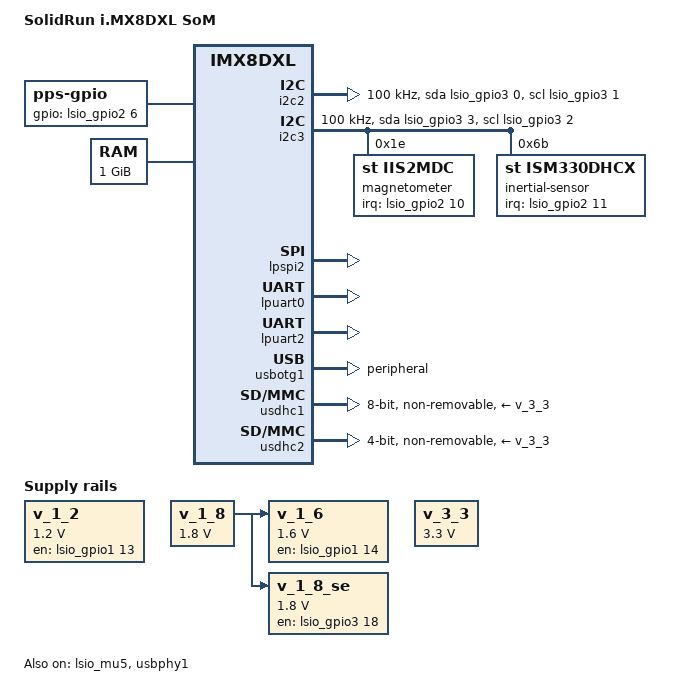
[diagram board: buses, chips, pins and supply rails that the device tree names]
// SPDX-License-Identifier: (GPL-2.0+ OR MIT)
/*
 * Copyright 2022-2026 Josua Mayer <josua@solid-run.com>
 */

#include "imx8dxl.dtsi"
/ {
	compatible = "solidrun,imx8dxl-sr-som", "fsl,imx8dxl";
	model = "SolidRun i.MX8DXL SoM";

	aliases {
		i2c2 = &i2c2;
		i2c3 = &i2c3;
		mmc0 = &usdhc1;
		mmc1 = &usdhc2;
		serial0 = &lpuart0;
		serial2 = &lpuart2;
	};

	chosen {
		stdout-path = "serial0:115200n8";
	};

	imx8dxl-cm4 {
		compatible = "fsl,imx8qxp-cm4";
		clocks = <&clk_dummy>;
		mboxes = <&lsio_mu5 0 1 &lsio_mu5 1 1 &lsio_mu5 3 1>;
		mbox-names = "tx", "rx", "rxdb";
		memory-region = <&vdevbuffer>, <&vdev0vring0>, <&vdev0vring1>,
				<&vdev1vring0>, <&vdev1vring1>, <&rsc_table>;
		power-domains = <&pd IMX_SC_R_M4_0_PID0>, <&pd IMX_SC_R_M4_0_MU_1A>;
		fsl,entry-address = <0x34fe0000>;
		fsl,resource-id = <IMX_SC_R_M4_0_PID0>;
	};

	pps {
		compatible = "pps-gpio";
		gpios = <&lsio_gpio2 6 GPIO_ACTIVE_HIGH>;
		pinctrl-0 = <&gnss_pps_pins>;
		pinctrl-names = "default";
	};

	v_1_2: regulator-1-2 {
		compatible = "regulator-fixed";
		regulator-name = "1v2";
		pinctrl-0 = <&regulator_1_2_pins>;
		pinctrl-names = "default";
		regulator-max-microvolt = <1200000>;
		regulator-min-microvolt = <1200000>;
		gpio = <&lsio_gpio1 13 GPIO_ACTIVE_HIGH>;
		enable-active-high;
	};

	v_1_6: regulator-1-6 {
		compatible = "regulator-fixed";
		regulator-name = "1v6";
		pinctrl-0 = <&regulator_1_6_pins>;
		pinctrl-names = "default";
		regulator-max-microvolt = <1600000>;
		regulator-min-microvolt = <1600000>;
		vin-supply = <&v_1_8>;
		gpio = <&lsio_gpio1 14 GPIO_ACTIVE_HIGH>;
		enable-active-high;
	};

	v_1_8: regulator-1-8 {
		compatible = "regulator-fixed";
		regulator-name = "1v8";
		regulator-max-microvolt = <1800000>;
		regulator-min-microvolt = <1800000>;
	};

	v_1_8_se: regulator-1-8-secure-element {
		compatible = "regulator-fixed";
		regulator-name = "1v8-se";
		pinctrl-0 = <&regulator_1_8_se_pins>;
		pinctrl-names = "default";
		regulator-max-microvolt = <1800000>;
		regulator-min-microvolt = <1800000>;
		vin-supply = <&v_1_8>;
		gpio = <&lsio_gpio3 18 GPIO_ACTIVE_HIGH>;
		enable-active-high;
	};

	v_3_3: regulator-3-3 {
		compatible = "regulator-fixed";
		regulator-name = "3v3";
		regulator-max-microvolt = <3300000>;
		regulator-min-microvolt = <3300000>;
	};

	reserved-memory {
		ranges;
		#address-cells = <2>;
		#size-cells = <2>;

		/* global autoconfigured region for contiguous allocations */
		linux,cma {
			compatible = "shared-dma-pool";
			alloc-ranges = <0 0x98000000 0 0x14000000>;
			reusable;
			size = <0 0x14000000>;
			linux,cma-default;
		};

		vdev0vring0: memory0@90000000 {
			reg = <0 0x90000000 0 0x8000>;
			no-map;
		};

		vdev0vring1: memory@90008000 {
			reg = <0 0x90008000 0 0x8000>;
			no-map;
		};

		vdev1vring0: memory@90010000 {
			reg = <0 0x90010000 0 0x8000>;
			no-map;
		};

		vdev1vring1: memory@90018000 {
			reg = <0 0x90018000 0 0x8000>;
			no-map;
		};

		rsc_table: memory-rsc-table@900ff000 {
			reg = <0 0x900ff000 0 0x1000>;
			no-map;
		};

		vdevbuffer: memory-vdevbuffer@90400000 {
			compatible = "shared-dma-pool";
			reg = <0 0x90400000 0 0x100000>;
			no-map;
		};

		/*
		 * Memory reserved for optee usage. Please do not use.
		 * This will be automatically added to dtb if OP-TEE is installed.
		 * optee@96000000 {
		 *     reg = <0 0x96000000 0 0x2000000>;
		 *     no-map;
		 * };
		 */
	};

	memory@80000000 {
		reg = <0x00000000 0x80000000 0 0x40000000>;
		device_type = "memory";
	};
};

&i2c2 {
	#address-cells = <1>;
	#size-cells = <0>;
	clock-frequency = <100000>;
	pinctrl-0 = <&i2c2_pins>;
	pinctrl-1 = <&i2c2_gpio_pins>;
	pinctrl-names = "default", "gpio";
	scl-gpios = <&lsio_gpio3 1 (GPIO_ACTIVE_HIGH | GPIO_OPEN_DRAIN)>;
	sda-gpios = <&lsio_gpio3 0 (GPIO_ACTIVE_HIGH | GPIO_OPEN_DRAIN)>;
	status = "okay";
};

&i2c3 {
	#address-cells = <1>;
	#size-cells = <0>;
	clock-frequency = <100000>;
	pinctrl-0 = <&i2c3_pins>;
	pinctrl-1 = <&i2c3_gpio_pins>;
	pinctrl-names = "default", "gpio";
	scl-gpios = <&lsio_gpio3 2 (GPIO_ACTIVE_HIGH | GPIO_OPEN_DRAIN)>;
	sda-gpios = <&lsio_gpio3 3 (GPIO_ACTIVE_HIGH | GPIO_OPEN_DRAIN)>;
	status = "okay";

	magnetometer@1e {
		compatible = "st,iis2mdc";
		reg = <0x1e>;
		interrupt-parent = <&lsio_gpio2>;
		interrupts = <10 IRQ_TYPE_EDGE_RISING>;
		pinctrl-0 = <&magnetometer_pins>;
		pinctrl-names = "default";
		st,drdy-int-pin = <1>;
	};

	/* pressure-sensor@5c */

	inertial-sensor@6b {
		compatible = "st,ism330dhcx";
		reg = <0x6b>;
		interrupt-parent = <&lsio_gpio2>;
		interrupts = <11 IRQ_TYPE_EDGE_RISING>;
		pinctrl-0 = <&imu_pins>;
		pinctrl-names = "default";
		st,drdy-int-pin = <1>;
	};
};

&iomuxc {
	pinctrl-0 = <&pinctrl_hog>;
	pinctrl-names = "default";

	pinctrl_hog: hoggrp {
		fsl,pins = <
			IMX8DXL_COMP_CTL_GPIO_1V8_3V3_GPIORHB_PAD	0x000514a0
			IMX8DXL_COMP_CTL_GPIO_1V8_3V3_GPIORHK_PAD	0x000014a0
		>;
	};

	dsrc_pins: pinctrl-dsrc-grp {
		fsl,pins = <
			/* reset: io without pull */
			IMX8DXL_ADC_IN0_LSIO_GPIO1_IO10			0x0000060

			/*
			 * boot0: io without pull
			 * After reset, this pin selects radio boot media:
			 * - 0: flash spi
			 * - 1: slave sdio
			 * Once the firmware boots however, the radio controls
			 * this pin for flow-control to signal readiness.
			 */
			IMX8DXL_ADC_IN1_LSIO_GPIO1_IO09			0x0000060
		>;
	};

	gnss_pins: pinctrl-gnss-grp {
		fsl,pins = <
			/* gps reset: input with pull-up */
			IMX8DXL_SNVS_TAMPER_OUT4_LSIO_GPIO2_IO08_IN	0x0000021
			/* gps interrupt: io without pull-up */
			IMX8DXL_SNVS_TAMPER_IN0_LSIO_GPIO2_IO09_IN	0x0000061
		>;
	};

	gnss_pps_pins: pinctrl-gnss-pps-grp {
		fsl,pins = <
			/* gps timepulse: input without pull-up */
			IMX8DXL_SNVS_TAMPER_OUT2_LSIO_GPIO2_IO06_IN	0x0000061
		>;
	};

	i2c2_gpio_pins: pinctrl-i2c2-gpio-grp {
		fsl,pins = <
			/* io with pull-up and weak drive */
			IMX8DXL_SPI1_SCK_LSIO_GPIO3_IO00		0x00000021
			/* io with pull-up, weak drive, open-drain */
			IMX8DXL_SPI1_SDO_LSIO_GPIO3_IO01		0x02000021
		>;
	};

	i2c2_pins: pinctrl-i2c2-grp {
		fsl,pins = <
			/* io with pull-up and weak drive */
			IMX8DXL_SPI1_SCK_ADMA_I2C2_SDA			0x06000021
			IMX8DXL_SPI1_SDO_ADMA_I2C2_SCL			0x06000021
		>;
	};

	i2c3_gpio_pins: pinctrl-i2c3-gpio-grp {
		fsl,pins = <
			/* io with pull-up and weak drive */
			IMX8DXL_SPI1_CS0_LSIO_GPIO3_IO03		0x00000021
			/* io with pull-up, weak drive, open-drain */
			IMX8DXL_SPI1_SDI_LSIO_GPIO3_IO02		0x02000021
		>;
	};

	i2c3_pins: pinctrl-i2c3-grp {
		fsl,pins = <
			/* io with pull-up and weak drive */
			IMX8DXL_SPI1_CS0_ADMA_I2C3_SDA			0x06000021
			IMX8DXL_SPI1_SDI_ADMA_I2C3_SCL			0x06000021
		>;
	};

	imu_pins: pinctrl-imu-grp {
		fsl,pins = <
			/* interrupt: io with pull-down */
			IMX8DXL_SNVS_TAMPER_IN2_LSIO_GPIO2_IO11_IN	0x0000041
		>;
	};

	lpspi2_pins: pinctrl-lpspi2-grp {
		fsl,pins = <
			IMX8DXL_USDHC1_RESET_B_ADMA_SPI2_SCK		0x600004c
			IMX8DXL_USDHC1_VSELECT_ADMA_SPI2_SDO		0x600004c
			IMX8DXL_USDHC1_WP_ADMA_SPI2_SDI			0x600004c
			IMX8DXL_USDHC1_CD_B_LSIO_GPIO4_IO22		0x6000021
		>;
	};

	lpuart0_pins: pinctrl-lpuart0-grp {
		fsl,pins = <
			IMX8DXL_UART0_RX_ADMA_UART0_RX			0x06000020
			IMX8DXL_UART0_TX_ADMA_UART0_TX			0x06000020
		>;
	};

	lpuart2_pins: pinctrl-lpuart2-grp {
		fsl,pins = <
			IMX8DXL_UART2_TX_ADMA_UART2_TX			0x06000020
			IMX8DXL_UART2_RX_ADMA_UART2_RX			0x06000020
		>;
	};

	magnetometer_pins: pinctrl-magnetometer-grp {
		fsl,pins = <
			/* interrupt: io with pull-down */
			IMX8DXL_SNVS_TAMPER_IN1_LSIO_GPIO2_IO10_IN	0x0000041
		>;
	};

	regulator_1_2_pins: pinctrl-regulator-1-2-grp {
		fsl,pins = <
			/* io without pull-up */
			/* has etxernal pull-down */
			IMX8DXL_ADC_IN5_LSIO_GPIO1_IO13			0x0000061
		>;
	};

	regulator_1_6_pins: pinctrl-regulator-1-6-grp {
		fsl,pins = <
			/* io without pull-up */
			/* has etxernal pull-down */
			IMX8DXL_ADC_IN4_LSIO_GPIO1_IO14			0x0000061
		>;
	};

	regulator_1_8_se_pins: pinctrl-regulator-1-8-secure-element-grp {
		fsl,pins = <
			/* v2x-secure-element power switch: io with pull-down */
			IMX8DXL_QSPI0B_DATA0_LSIO_GPIO3_IO18		0x0000041
		>;
	};

	se_pins: pinctrl-secure-element-grp {
		fsl,pins = <
			/* v2x-secure-element reset: io with pull-up */
			IMX8DXL_QSPI0B_DATA1_LSIO_GPIO3_IO19		0x0000021

			/*
			 * v2x-secure-element gpio0: io with pull-up
			 * pulled low by sxf after boot indicating ready for commands
			 */
			IMX8DXL_QSPI0B_DATA2_LSIO_GPIO3_IO20		0x0000021

			/* v2x-secure-element gpio1: io with pull-up */
			IMX8DXL_QSPI0B_DATA3_LSIO_GPIO3_IO21		0x0000021
		>;
	};

	usdhc1_pins: pinctrl-usdhc1-grp {
		fsl,pins = <
			IMX8DXL_EMMC0_CLK_CONN_EMMC0_CLK		0x06000041
			IMX8DXL_EMMC0_CMD_CONN_EMMC0_CMD		0x00000021
			IMX8DXL_EMMC0_DATA0_CONN_EMMC0_DATA0		0x00000021
			IMX8DXL_EMMC0_DATA1_CONN_EMMC0_DATA1		0x00000021
			IMX8DXL_EMMC0_DATA2_CONN_EMMC0_DATA2		0x00000021
			IMX8DXL_EMMC0_DATA3_CONN_EMMC0_DATA3		0x00000021
			IMX8DXL_EMMC0_DATA4_CONN_EMMC0_DATA4		0x00000021
			IMX8DXL_EMMC0_DATA5_CONN_EMMC0_DATA5		0x00000021
			IMX8DXL_EMMC0_DATA6_CONN_EMMC0_DATA6		0x00000021
			IMX8DXL_EMMC0_DATA7_CONN_EMMC0_DATA7		0x00000021
			IMX8DXL_EMMC0_STROBE_CONN_EMMC0_STROBE		0x00000041
			IMX8DXL_EMMC0_RESET_B_CONN_EMMC0_RESET_B	0x00000061
		>;
	};

	usdhc2_pins: pinctrl-usdhc2-grp {
		fsl,pins = <
			IMX8DXL_ENET0_RGMII_RXC_CONN_USDHC1_CLK		0x06000040
			IMX8DXL_ENET0_RGMII_RX_CTL_CONN_USDHC1_CMD	0x00000021
			IMX8DXL_ENET0_RGMII_RXD0_CONN_USDHC1_DATA0	0x00000021
			IMX8DXL_ENET0_RGMII_RXD1_CONN_USDHC1_DATA1	0x00000021
			IMX8DXL_ENET0_RGMII_RXD2_CONN_USDHC1_DATA2	0x00000021
			IMX8DXL_ENET0_RGMII_RXD3_CONN_USDHC1_DATA3	0x00000021
		>;
	};
};

&lpspi2 {
	cs-gpios = <&lsio_gpio4 22 GPIO_ACTIVE_LOW>;
	num-cs = <1>;
	pinctrl-0 = <&lpspi2_pins>, <&se_pins>;
	pinctrl-names = "default";
	status = "okay";
};

/* console */
&lpuart0 {
	pinctrl-0 = <&lpuart0_pins>;
	pinctrl-names = "default";
	status = "okay";
};

/* gnss */
&lpuart2 {
	pinctrl-0 = <&lpuart2_pins>, <&gnss_pins>;
	pinctrl-names = "default";
	status = "okay";
};

&lsio_gpio3 {
	gpio-line-names = "", "", "", "", "", "", "", "",
			  "", "", "", "", "", "", "", "",
			  "", "", "", "SXF_RST", "SXF_GPIO0", "SXF_GPIO1", "", "",
			  "", "", "", "", "", "", "", "";
};

&lsio_mu5 {
	status = "okay";
};

/* OTG port for boot */
&usbotg1 {
	adp-disable;
	disable-over-current;
	dr_mode = "peripheral";
	hnp-disable;
	power-active-high;
	srp-disable;
	status = "okay";
};

&usbphy1 {
	status = "okay";
};

/* eMMC */
&usdhc1 {
	bus-width = <8>;
	cap-mmc-hw-reset;
	non-removable;
	no-sd;
	no-sdio;
	pinctrl-0 = <&usdhc1_pins>;
	pinctrl-1 = <&usdhc1_pins>;
	pinctrl-2 = <&usdhc1_pins>;
	pinctrl-names = "default", "state_100mhz", "state_200mhz";
	vmmc-supply = <&v_3_3>;
	vqmmc-supply = <&v_1_8>;
	status = "okay";
};

/* DSRC Radio */
&usdhc2 {
	bus-width = <4>;
	keep-power-in-suspend;
	max-frequency = <40000000>;
	non-removable;
	no-sd;
	pinctrl-0 = <&usdhc2_pins>, <&dsrc_pins>;
	pinctrl-names = "default";
	vmmc-supply = <&v_3_3>;
	vqmmc-supply = <&v_1_8>;
	status = "okay";
};
